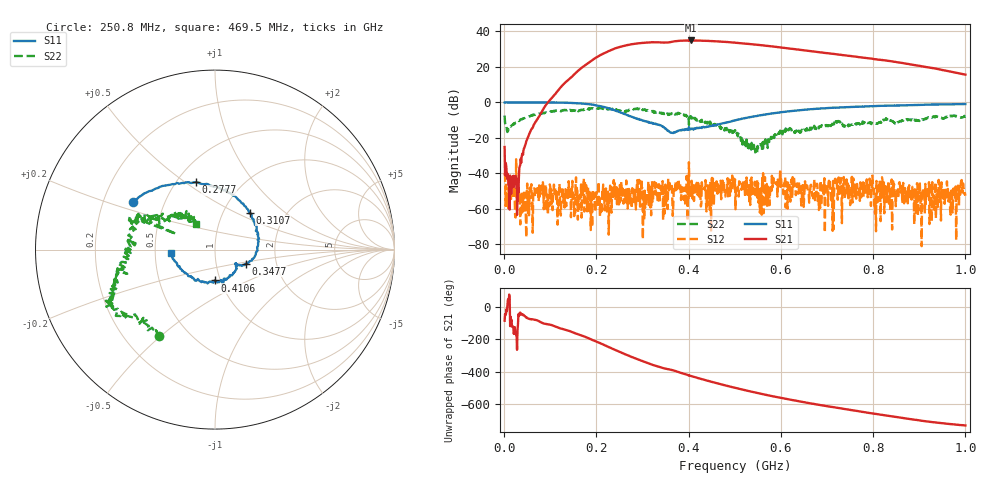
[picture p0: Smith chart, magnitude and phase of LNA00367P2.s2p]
! Created with skrf 1.9.0 (http://scikit-rf.org).
# Hz S RI R 50.0
!freq ReS11 ImS11 ReS21 ImS21 ReS12 ImS12 ReS22 ImS22
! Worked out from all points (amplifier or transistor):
!   1001 points, 1 MHz to 1 GHz, reference 50 ohm
!   highest |S21| = 34.9 dB at 404.6 MHz (marker M1)
!   |S21| within 3 dB of that: 260.5 MHz to 568.3 MHz (307.8 MHz wide, 74.3 % of centre)
!   unconditionally stable (mu >= 1): 239.8 MHz to 297.6 MHz; 297.9 MHz to 400.3 MHz; 400.9 MHz to end of sweep (the widest 3 of 31)
!   at 166.8 MHz: K = 1.46, MAG = 28.7 dB, |S12| = -46.2 dB
!   at 500.5 MHz: K = 1.54, MAG = 34.2 dB, |S12| = -43.4 dB
!   at 1 GHz: K = 5.46, MAG = 23.8 dB, |S12| = -52.6 dB
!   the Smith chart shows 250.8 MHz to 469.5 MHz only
!   S11 on the Smith chart (normalised r, x): 250.8 MHz: 0.33, +0.24; 277.7 MHz: 0.62, +0.55; 310.7 MHz: 1.33, +0.59; 347.7 MHz: 1.40, -0.23; 410.6 MHz: 0.94, -0.33; 469.5 MHz: 0.60, -0.02
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1000000  1.002 0.00618  0.0061 -0.055  -0.01 -0.00122  0.2954 0.3071
1.08892e8  0.51 -0.8538  -0.7457 -1.444  0.00271 0.00199  0.4446 -0.3417
1.67833e8  -0.2565 -0.8959  -9.407 -0.7979  5.51e-05 -0.000563  0.0837 -0.6101
2.12788e8  -0.6991 -0.305  -15.03 17.41  -0.00046 -0.00345  -0.1545 -0.6503
2.31769e8  -0.6505 0.0157  -8.376 28.71  -0.000249 -0.00127  -0.238 -0.5975
2.5075e8  -0.4578 0.2678  4.9 36.24  -0.00456 -0.00116  -0.3137 -0.4833
2.77723e8  -0.1059 0.3754  28.52 33.6  -0.000148 0.00382  -0.5264 -0.37
3.1069e8  0.1938 0.2056  47.39 11.2  0.00123 0.00186  -0.5542 -0.208
3.34666e8  0.2357 0.000516  48.76 -8.911  -0.00127 0.00171  -0.5238 -0.0726
3.47653e8  0.1737 -0.0775  45.61 -17.08  -1.1e-05 -0.000735  -0.4945 -0.00185
3.73627e8  0.1177 -0.0938  41.94 -33.8  0.0011 0.00272  -0.4408 0.1685
4.04596e8  0.0308 -0.1716  21.74 -51.49  -0.00381 -0.000188  -0.3674 0.1828
4.1059e8  -0.0017 -0.1716  17.1 -53.09  -0.000154 -0.00433  -0.3553 0.1748
4.39561e8  -0.1484 -0.1476  -5.522 -54.04  0.000695 0.00319  -0.1838 0.1828
4.69531e8  -0.2476 -0.0194  -24.89 -45.41  0.00477 -0.00401  -0.1061 0.145
5.005e8  -0.2673 0.1517  -37.79 -30.63  0.000459 -0.00678  -0.1161 0.1167
5.4046e8  -0.1867 0.3577  -42.11 -9.315  0.00269 0.00282  -0.062 0.00991
5.88412e8  0.0327 0.5028  -35.29 10.96  0.00111 -0.00501  -0.099 -0.0714
6.67333e8  0.4158 0.4949  -13.92 23.72  -0.00127 -0.00249  -0.19 -0.0493
7.53247e8  0.6926 0.2752  3.458 19.82  -0.00768 0.000977  -0.2385 -0.0138
8.34166e8  0.8107 0.00574  10.63 10.31  -0.000811 -0.00103  -0.3259 -0.0182
1e9  0.7274 -0.5313  5.881 -1.609  0.0016 0.00173  -0.3408 0.2112
